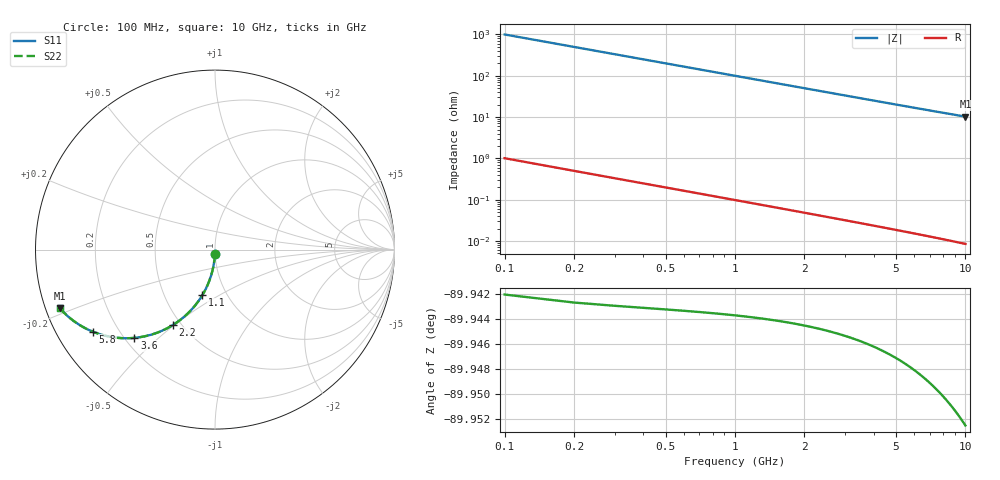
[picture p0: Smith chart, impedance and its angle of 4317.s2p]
# Hz S RI R 50.00
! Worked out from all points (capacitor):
!   100 points, 100 MHz to 10 GHz, reference 50 ohm
!   read as one part in shunt: C = 1.59 pF near 100 MHz
!   lowest |Z| = 10.3 ohm at 10 GHz (marker M1)
!   S11 on the Smith chart (normalised r, x): 100 MHz: 1.00, -0.05; 1.1 GHz: 0.77, -0.42; 2.2 GHz: 0.45, -0.49; 3.6 GHz: 0.24, -0.42; 5.8 GHz: 0.11, -0.30; 10 GHz: 0.04, -0.18
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1e8  -0.000582 -0.0249  0.9993 -0.0252  0.9993 -0.0252  -0.000582 -0.0249
2e8  -0.00248 -0.0497  0.9974 -0.0502  0.9974 -0.0502  -0.00248 -0.0497
3e8  -0.00562 -0.0743  0.9942 -0.0751  0.9942 -0.0751  -0.00562 -0.0743
4e8  -0.00996 -0.0986  0.9899 -0.0997  0.9899 -0.0997  -0.00996 -0.0986
5e8  -0.0155 -0.1226  0.9844 -0.124  0.9844 -0.124  -0.0155 -0.1226
6e8  -0.0221 -0.1461  0.9777 -0.1477  0.9777 -0.1477  -0.0221 -0.1461
7e8  -0.0299 -0.169  0.97 -0.171  0.97 -0.171  -0.0299 -0.169
9e8  -0.0485 -0.2131  0.9514 -0.2157  0.9514 -0.2157  -0.0485 -0.2131
1.1e9  -0.0707 -0.2544  0.9292 -0.2575  0.9292 -0.2575  -0.0707 -0.2544
1.4e9  -0.1096 -0.3101  0.8902 -0.314  0.8902 -0.314  -0.1096 -0.3101
1.8e9  -0.1691 -0.3719  0.8308 -0.3769  0.8308 -0.3769  -0.1691 -0.3719
2.2e9  -0.2331 -0.4192  0.7667 -0.4254  0.7667 -0.4254  -0.2331 -0.4192
2.8e9  -0.3299 -0.4657  0.6699 -0.4736  0.6699 -0.4736  -0.3299 -0.4657
3.4e9  -0.4206 -0.4884  0.5792 -0.498  0.5792 -0.498  -0.4206 -0.4884
3.6e9  -0.4487 -0.4918  0.5511 -0.502  0.5511 -0.502  -0.4487 -0.4918
4.3e9  -0.5374 -0.492  0.4624 -0.5042  0.4624 -0.5042  -0.5374 -0.492
5.1e9  -0.6205 -0.4775  0.3792 -0.4919  0.3792 -0.4919  -0.6205 -0.4775
5.8e9  -0.6792 -0.458  0.3205 -0.4745  0.3205 -0.4745  -0.6792 -0.458
6.7e9  -0.7388 -0.4291  0.2608 -0.4482  0.2608 -0.4482  -0.7388 -0.4291
7.5e9  -0.7802 -0.4027  0.2194 -0.4242  0.2194 -0.4242  -0.7802 -0.4027
8.4e9  -0.8169 -0.3739  0.1826 -0.3981  0.1826 -0.3981  -0.8169 -0.3739
1e10  -0.864 -0.3275  0.1354 -0.3565  0.1354 -0.3565  -0.864 -0.3275
